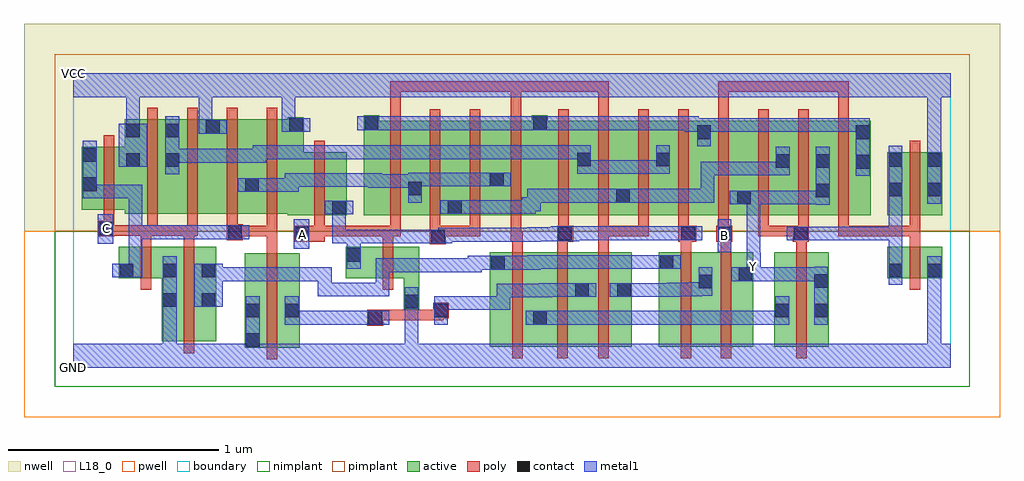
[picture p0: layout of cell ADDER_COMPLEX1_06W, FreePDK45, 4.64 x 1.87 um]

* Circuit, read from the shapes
.subckt ADDER_COMPLEX1_06W A B C GND VCC Y
M1 GND C n1 VSUBS nfet w=0.15u l=0.05u
M2 n2 C GND VSUBS nfet w=0.45u l=0.05u
M3 n3 n1 GND VSUBS nfet w=0.45u l=0.05u
M4 GND A n4 VSUBS nfet w=0.15u l=0.05u
M5 n5 A n2 VSUBS nfet w=0.45u l=0.05u
M6 n3 n4 n5 VSUBS nfet w=0.45u l=0.05u
M7 n6 A n3 VSUBS nfet w=0.45u l=0.05u
M8 n6 n4 n2 VSUBS nfet w=0.45u l=0.05u
M9 Y B n6 VSUBS nfet w=0.45u l=0.05u
M10 Y n7 n5 VSUBS nfet w=0.45u l=0.05u
M11 GND B n7 VSUBS nfet w=0.15u l=0.05u
M12 VCC C n1 n8 pfet w=0.3u l=0.05u
M13 n9 C VCC n8 pfet w=0.45u l=0.05u m=2
M14 n10 n1 VCC n8 pfet w=0.45u l=0.05u m=2
M15 n4 A VCC n8 pfet w=0.3u l=0.05u
M16 n10 A n11 n8 pfet w=0.45u l=0.05u m=2
M17 n12 n4 n10 n8 pfet w=0.45u l=0.05u m=2
M18 n9 n4 n11 n8 pfet w=0.45u l=0.05u m=2
M19 n12 A n9 n8 pfet w=0.45u l=0.05u m=2
M20 Y B n11 n8 pfet w=0.45u l=0.05u m=2
M21 n12 n7 Y n8 pfet w=0.45u l=0.05u m=2
M22 VCC B n7 n8 pfet w=0.3u l=0.05u
.ends

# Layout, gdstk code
import gdstk
lib = gdstk.Library(unit=1e-6, precision=1e-09)
def R(c, l, rs):  # rectangles x0, y0, x1, y1
    for r in rs: c.add(gdstk.rectangle(r[:2], r[2:], *l))
def A(c, l, x, y, w, h, nx, ny, dx, dy):  # array of equal rectangles
    R(c, l, [(x+i*dx, y+j*dy, x+i*dx+w, y+j*dy+h) for i in range(nx) for j in range(ny)])
active = (1, 0)
pwell = (2, 0)
nwell = (3, 0)
nimplant = (4, 0)
pimplant = (5, 0)
poly = (9, 0)
contact = (10, 0)
metal1 = (11, 0)
L18_0 = (18, 0)
boundary = (235, 0)

adder_complex1_06w = lib.new_cell('ADDER_COMPLEX1_06W')
A(adder_complex1_06w, active, 1.98, 0.1, 0.275, 0.45, 3, 1, 0.2, 0)
R(adder_complex1_06w, active, [(0.815,0.095,1.075,0.545), (0.815,0.095,0.89,0.545), (2.782,0.1,3.042,0.55), (2.967,0.1,3.232,0.55), (3.332,0.1,3.592,0.55), (0.42,0.125,0.68,0.575), (0.605,0.145,0.68,0.575), (1,0.145,1.075,0.542), (1.98,0.145,2.055,0.542), (2.18,0.145,2.255,0.29), (2.38,0.145,2.455,0.542), (2.58,0.145,2.655,0.542), (2.782,0.145,2.857,0.55), (2.967,0.145,3.042,0.542), (3.157,0.145,3.232,0.55), (3.332,0.145,3.407,0.542), (3.517,0.145,3.592,0.55), (1.57,0.277,1.645,0.445), (0.42,0.285,0.495,0.575), (0.215,0.425,0.29,0.575), (0.215,0.425,0.495,0.575), (1.295,0.425,1.645,0.575), (3.87,0.425,3.945,0.575), (3.87,0.425,4.13,0.575), (4.055,0.425,4.13,0.575), (1.295,0.445,1.37,0.575), (1.02,0.725,1.3,1.025), (1.225,0.725,1.3,0.81), (1.38,0.725,1.662,1.175), (1.587,0.725,1.662,0.94), (1.587,0.725,1.85,1.175), (1.775,0.725,2.05,1.175), (1.775,0.725,1.85,0.81), (1.975,0.725,2.255,1.175), (2.18,0.725,2.465,1.175), (2.39,0.725,2.65,1.175), (2.575,0.725,2.84,1.175), (2.765,0.725,3.035,1.175), (2.96,0.725,3.225,1.175), (3.15,0.725,3.41,1.175), (3.15,0.725,3.225,0.94), (3.335,0.725,3.6,1.175), (3.525,0.725,3.79,1.175), (3.715,0.725,3.79,1.167), (3.87,0.725,3.945,1.025), (3.87,0.725,4.13,1.025), (4.055,0.725,4.13,1.025), (2.575,0.73,2.65,0.94), (3.525,0.73,3.6,1.07), (0.245,0.732,0.507,1.182), (0.432,0.732,0.7,1.182), (0.432,0.732,0.507,1.167), (0.625,0.732,0.887,1.182), (0.812,0.732,1.095,1.182), (3.335,0.732,3.41,1.07), (0.04,0.75,0.115,1.05), (0.04,0.75,0.32,1.05), (0.812,0.832,0.887,1.07), (1.975,0.85,2.05,0.94), (2.39,0.85,2.465,1.07), (2.765,0.852,2.84,1.07), (2.96,0.852,3.035,1.175), (0.625,0.857,0.7,1.182), (1.02,0.857,1.095,1.192), (1.38,0.857,1.455,1.2), (2.18,0.857,2.255,1.2), (0.245,0.95,0.32,1.165)])
R(adder_complex1_06w, pwell, [(-0.235,-0.235,4.405,0.65)])
R(adder_complex1_06w, nwell, [(-0.235,0.65,4.405,1.635)])
R(adder_complex1_06w, nimplant, [(-0.09,-0.09,4.26,0.65)])
R(adder_complex1_06w, pimplant, [(-0.09,0.65,4.26,1.49)])
A(adder_complex1_06w, poly, 1.505, 0.625, 0.05, 0.095, 3, 1, 0.19, 0)
A(adder_complex1_06w, poly, 2.305, 0.625, 0.05, 0.095, 8, 1, 0.19, 0)
A(adder_complex1_06w, poly, 1.505, 0.67, 0.05, 0.56, 3, 1, 0.19, 0)
A(adder_complex1_06w, poly, 2.305, 0.67, 0.05, 0.56, 8, 1, 0.19, 0)
A(adder_complex1_06w, poly, 0.35, 0.677, 0.05, 0.56, 4, 1, 0.19, 0)
A(adder_complex1_06w, poly, 2.495, 1.18, 0.05, 0.182, 3, 1, 0.57, 0)
R(adder_complex1_06w, poly, [(0.92,0.04,0.97,0.6), (2.085,0.045,2.135,0.605), (2.3,0.045,2.35,0.605), (2.495,0.045,2.545,0.605), (2.887,0.045,2.937,0.605), (3.077,0.045,3.127,0.605), (3.437,0.045,3.487,0.605), (0.525,0.07,0.575,0.63), (1.397,0.2,1.472,0.275), (1.422,0.225,1.76,0.275), (1.71,0.225,1.76,0.285), (1.71,0.235,1.76,0.285), (1.71,0.235,1.785,0.31), (0.32,0.37,0.37,0.63), (1.47,0.37,1.52,0.63), (3.975,0.37,4.025,0.63), (0.92,0.55,0.97,0.675), (2.085,0.555,2.135,0.65), (2.3,0.555,2.35,0.65), (2.495,0.555,2.545,0.675), (2.887,0.555,2.937,0.65), (3.077,0.555,3.127,0.65), (3.437,0.555,3.487,0.65), (0.32,0.58,0.37,0.677), (0.525,0.58,0.575,0.677), (1.47,0.58,1.52,0.675), (3.975,0.58,4.025,0.675), (1.695,0.587,1.77,0.675), (1.052,0.6,1.195,0.675), (2.08,0.6,2.13,0.72), (2.08,0.6,2.135,0.65), (2.3,0.6,2.375,0.675), (2.875,0.6,2.96,0.675), (3.057,0.6,3.132,0.675), (3.42,0.6,3.495,0.675), (0.73,0.607,0.805,0.682), (0.12,0.625,0.195,0.7), (0.755,0.625,0.805,0.675), (0.755,0.625,0.805,0.675), (0.755,0.625,0.97,0.675), (0.92,0.625,0.97,0.675), (0.92,0.625,0.97,0.727), (1.145,0.625,1.195,0.72), (1.145,0.625,1.195,0.675), (1.145,0.625,1.195,0.675), (1.145,0.625,1.52,0.675), (1.47,0.625,1.52,0.675), (1.47,0.625,1.52,0.675), (1.47,0.625,1.555,0.675), (1.72,0.625,1.935,0.675), (1.885,0.625,1.935,0.675), (1.885,0.625,1.935,0.675), (1.885,0.625,1.935,0.675), (2.495,0.625,2.545,0.675), (2.495,0.625,2.735,0.675), (2.685,0.625,2.735,0.675), (2.685,0.625,2.735,0.675), (2.685,0.625,2.735,0.675), (3.255,0.625,3.305,0.675), (3.255,0.625,3.305,0.675), (3.255,0.625,3.305,0.675), (3.255,0.625,3.47,0.675), (3.635,0.625,3.685,0.675), (3.635,0.625,3.685,0.675), (3.635,0.625,3.685,0.675), (3.635,0.625,4.025,0.675), (3.975,0.625,4.025,0.72), (3.975,0.625,4.025,0.675), (3.975,0.625,4.025,0.675), (3.975,0.625,4.025,0.675), (0.145,0.627,0.37,0.677), (0.32,0.627,0.37,0.677), (0.32,0.627,0.37,0.677), (0.32,0.627,0.4,0.677), (0.35,0.627,0.4,0.727), (0.35,0.627,0.575,0.677), (0.525,0.627,0.575,0.677), (0.525,0.627,0.575,0.677), (0.525,0.627,0.59,0.677), (0.54,0.627,0.59,0.727), (0.73,0.632,0.78,0.727), (0.145,0.65,0.195,0.745), (1.145,0.67,1.195,1.08), (2.08,0.67,2.13,1.23), (3.975,0.67,4.025,1.08), (0.145,0.695,0.195,1.105), (1.505,1.18,1.555,1.362), (2.08,1.18,2.13,1.362), (1.505,1.312,1.555,1.362), (1.505,1.312,1.802,1.362), (1.752,1.312,1.802,1.362), (1.752,1.312,1.802,1.362), (1.752,1.312,1.802,1.362), (1.752,1.312,1.935,1.362), (1.885,1.312,1.935,1.362), (1.885,1.312,1.935,1.362), (1.885,1.312,1.935,1.362), (1.885,1.312,2.13,1.362), (2.08,1.312,2.13,1.362), (2.08,1.312,2.13,1.362), (2.08,1.312,2.13,1.362), (2.08,1.312,2.412,1.362), (2.362,1.312,2.412,1.362), (2.362,1.312,2.412,1.362), (2.362,1.312,2.412,1.362), (2.362,1.312,2.545,1.362), (2.495,1.312,2.545,1.362), (2.495,1.312,2.545,1.362), (2.495,1.312,2.545,1.362), (3.065,1.312,3.115,1.362), (3.065,1.312,3.115,1.362), (3.065,1.312,3.115,1.362), (3.065,1.312,3.337,1.362), (3.287,1.312,3.337,1.362), (3.287,1.312,3.337,1.362), (3.287,1.312,3.337,1.362), (3.287,1.312,3.552,1.362), (3.502,1.312,3.552,1.362), (3.502,1.312,3.552,1.362), (3.502,1.312,3.552,1.362), (3.502,1.312,3.685,1.362), (3.635,1.312,3.685,1.362)])
R(adder_complex1_06w, contact, [(0.82,0.1,0.885,0.165), (1.402,0.205,1.467,0.27), (2.185,0.205,2.25,0.27), (0.82,0.24,0.885,0.305), (1.005,0.24,1.07,0.305), (1.715,0.24,1.78,0.305), (3.337,0.24,3.402,0.305), (3.522,0.24,3.587,0.305), (1.575,0.282,1.64,0.347), (0.425,0.29,0.49,0.355), (0.61,0.29,0.675,0.355), (2.385,0.337,2.45,0.402), (2.585,0.337,2.65,0.402), (2.972,0.377,3.037,0.442), (3.522,0.38,3.587,0.445), (3.162,0.412,3.227,0.477), (0.22,0.43,0.285,0.495), (0.425,0.43,0.49,0.495), (0.61,0.43,0.675,0.495), (3.875,0.43,3.94,0.495), (4.06,0.43,4.125,0.495), (1.985,0.467,2.05,0.532), (2.787,0.47,2.852,0.535), (1.3,0.505,1.365,0.57), (1.7,0.592,1.765,0.657), (1.057,0.605,1.122,0.67), (2.305,0.605,2.37,0.67), (2.89,0.605,2.955,0.67), (3.062,0.605,3.127,0.67), (3.425,0.605,3.49,0.67), (0.735,0.612,0.8,0.677), (0.125,0.63,0.19,0.695), (1.23,0.73,1.295,0.795), (1.78,0.732,1.845,0.797), (3.155,0.777,3.22,0.842), (2.58,0.785,2.645,0.85), (3.53,0.81,3.595,0.875), (3.875,0.815,3.94,0.88), (4.06,0.815,4.125,0.88), (1.592,0.82,1.657,0.885), (0.817,0.837,0.882,0.902), (0.045,0.84,0.11,0.905), (1.98,0.862,2.045,0.927), (3.72,0.947,3.785,1.012), (3.34,0.95,3.405,1.015), (3.53,0.95,3.595,1.015), (0.25,0.955,0.315,1.02), (0.437,0.955,0.502,1.02), (3.875,0.955,3.94,1.02), (4.06,0.955,4.125,1.02), (2.395,0.957,2.46,1.022), (2.77,0.957,2.835,1.022), (0.045,0.98,0.11,1.045), (2.965,1.087,3.03,1.152), (3.72,1.087,3.785,1.152), (0.25,1.095,0.315,1.16), (0.437,1.095,0.502,1.16), (0.63,1.112,0.695,1.177), (1.025,1.122,1.09,1.187), (1.385,1.13,1.45,1.195), (2.185,1.13,2.25,1.195)])
A(adder_complex1_06w, metal1, 1.875, 0.732, 0.065, 0.065, 1, 3, 0, 0.13)
R(adder_complex1_06w, metal1, [(0,0,4.17,0.115), (0.425,0.05,0.49,0.32), (0.82,0.05,0.885,0.13), (1.575,0.05,1.64,0.115), (1.575,0.05,1.64,0.115), (1.575,0.05,1.64,0.115), (1.575,0.05,1.64,0.115), (1.575,0.05,1.64,0.115), (1.575,0.05,1.64,0.115), (1.575,0.05,1.64,0.312), (4.06,0.05,4.125,0.115), (4.06,0.05,4.125,0.115), (4.06,0.05,4.125,0.46), (0.82,0.065,0.885,0.13), (0.82,0.065,0.885,0.13), (0.82,0.065,0.885,0.34), (1.005,0.205,1.07,0.27), (1.005,0.205,1.07,0.27), (1.005,0.205,1.07,0.34), (1.005,0.205,1.295,0.27), (1.23,0.205,1.295,0.27), (1.23,0.205,1.432,0.27), (1.367,0.205,1.432,0.27), (1.367,0.205,1.432,0.27), (1.367,0.205,1.502,0.27), (1.715,0.205,1.78,0.34), (2.15,0.205,2.285,0.27), (2.22,0.205,2.46,0.27), (2.395,0.205,2.46,0.27), (2.395,0.205,2.46,0.27), (2.395,0.205,2.46,0.27), (2.395,0.205,2.597,0.27), (2.532,0.205,2.597,0.27), (2.532,0.205,2.597,0.27), (2.532,0.205,2.597,0.27), (2.532,0.205,2.747,0.27), (2.682,0.205,2.747,0.27), (2.682,0.205,2.892,0.27), (2.827,0.205,2.892,0.27), (2.827,0.205,2.99,0.27), (2.925,0.205,2.99,0.27), (2.925,0.205,3.047,0.27), (2.982,0.205,3.047,0.27), (2.982,0.205,3.127,0.27), (3.062,0.205,3.127,0.27), (3.062,0.205,3.265,0.27), (3.2,0.205,3.265,0.27), (3.2,0.205,3.265,0.27), (3.2,0.205,3.265,0.27), (3.2,0.205,3.402,0.27), (3.337,0.205,3.402,0.34), (3.522,0.205,3.587,0.48), (1.575,0.247,1.64,0.382), (0.425,0.255,0.49,0.32), (0.425,0.255,0.49,0.32), (0.425,0.255,0.49,0.53), (1.715,0.275,1.8,0.34), (1.735,0.275,1.8,0.34), (1.735,0.275,1.94,0.34), (1.875,0.275,1.94,0.34), (1.875,0.275,2.077,0.34), (2.012,0.275,2.077,0.395), (0.575,0.29,0.71,0.495), (2.012,0.33,2.077,0.395), (2.012,0.33,2.077,0.4), (2.012,0.335,2.277,0.4), (2.212,0.335,2.277,0.402), (2.212,0.337,2.415,0.402), (2.35,0.337,2.415,0.402), (2.35,0.337,2.415,0.402), (2.35,0.337,2.485,0.402), (2.55,0.337,2.685,0.402), (2.62,0.337,2.755,0.402), (2.69,0.337,2.755,0.402), (2.69,0.337,2.885,0.402), (2.82,0.337,2.885,0.405), (1.162,0.34,1.502,0.405), (1.162,0.34,1.227,0.477), (1.437,0.34,1.502,0.405), (1.437,0.34,1.502,0.405), (1.437,0.34,1.502,0.405), (1.437,0.34,1.502,0.52), (2.82,0.34,2.99,0.405), (2.925,0.34,2.99,0.407), (2.925,0.342,3.037,0.407), (2.972,0.342,3.037,0.477), (3.875,0.395,3.94,0.53), (4.06,0.395,4.125,0.46), (4.06,0.395,4.125,0.46), (4.06,0.395,4.125,0.46), (4.06,0.395,4.125,0.46), (4.06,0.395,4.125,0.53), (0.645,0.412,0.71,0.477), (0.645,0.412,0.71,0.477), (0.645,0.412,0.917,0.477), (0.852,0.412,0.917,0.477), (0.852,0.412,0.917,0.477), (0.852,0.412,0.917,0.477), (0.852,0.412,1.09,0.477), (1.025,0.412,1.09,0.477), (1.025,0.412,1.09,0.477), (1.025,0.412,1.09,0.477), (1.025,0.412,1.227,0.477), (3.127,0.412,3.265,0.477), (3.2,0.412,3.265,0.477), (3.2,0.412,3.265,0.477), (3.2,0.412,3.265,0.477), (3.2,0.412,3.442,0.477), (3.2,0.412,3.267,0.547), (3.377,0.412,3.442,0.477), (3.377,0.412,3.587,0.477), (3.522,0.412,3.587,0.477), (3.522,0.412,3.587,0.477), (0.185,0.43,0.327,0.495), (0.262,0.43,0.327,0.677), (1.437,0.455,1.502,0.52), (1.437,0.455,1.662,0.52), (1.597,0.455,1.662,0.52), (1.597,0.455,1.802,0.52), (1.737,0.455,1.802,0.52), (1.737,0.455,1.802,0.52), (1.737,0.455,1.802,0.52), (1.737,0.455,1.94,0.52), (1.875,0.455,1.94,0.532), (3.875,0.465,3.94,0.67), (1.875,0.467,2.015,0.532), (1.95,0.467,2.085,0.532), (2.02,0.467,2.085,0.532), (2.02,0.467,2.085,0.532), (2.02,0.467,2.222,0.532), (2.157,0.467,2.222,0.535), (1.3,0.47,1.365,0.605), (2.157,0.47,2.46,0.535), (2.395,0.47,2.46,0.535), (2.395,0.47,2.46,0.535), (2.395,0.47,2.46,0.535), (2.395,0.47,2.597,0.535), (2.532,0.47,2.597,0.535), (2.532,0.47,2.597,0.535), (2.532,0.47,2.597,0.535), (2.532,0.47,2.755,0.535), (2.69,0.47,2.755,0.535), (2.69,0.47,2.817,0.535), (2.752,0.47,2.887,0.535), (3.2,0.482,3.265,0.842), (1.3,0.54,1.365,0.657), (3.062,0.55,3.127,0.705), (1.047,0.565,1.122,0.705), (0.115,0.59,0.19,0.73), (1.23,0.592,1.295,0.657), (1.23,0.592,1.365,0.657), (1.23,0.592,1.295,0.795), (1.3,0.592,1.365,0.657), (1.3,0.592,1.452,0.657), (1.387,0.592,1.452,0.657), (1.387,0.592,1.64,0.657), (1.575,0.592,1.64,0.657), (1.575,0.592,1.73,0.657), (1.665,0.592,1.8,0.657), (1.735,0.592,1.8,0.657), (1.735,0.592,1.8,0.665), (1.735,0.6,1.94,0.665), (1.875,0.6,1.94,0.665), (1.875,0.6,2.077,0.665), (2.012,0.6,2.077,0.665), (2.012,0.6,2.077,0.665), (2.012,0.6,2.077,0.665), (2.012,0.6,2.222,0.665), (2.157,0.6,2.222,0.667), (2.157,0.602,2.335,0.667), (2.27,0.602,2.405,0.672), (2.855,0.605,2.99,0.672), (3.39,0.605,3.525,0.67), (3.46,0.605,3.59,0.67), (3.525,0.605,3.59,0.67), (3.525,0.605,3.802,0.67), (3.737,0.605,3.802,0.67), (3.737,0.605,3.94,0.67), (3.875,0.605,3.94,0.67), (3.875,0.605,3.94,0.67), (3.875,0.605,3.94,0.67), (3.875,0.605,3.94,0.845), (2.34,0.607,2.422,0.672), (2.357,0.607,2.422,0.672), (2.357,0.607,2.597,0.672), (2.532,0.607,2.597,0.672), (2.532,0.607,2.597,0.672), (2.532,0.607,2.597,0.672), (2.532,0.607,2.747,0.672), (2.682,0.607,2.747,0.672), (2.682,0.607,2.892,0.672), (2.827,0.607,2.892,0.672), (2.827,0.607,2.92,0.672), (0.262,0.612,0.327,0.677), (0.262,0.612,0.327,0.677), (0.262,0.612,0.327,0.677), (0.262,0.612,0.502,0.677), (0.262,0.612,0.327,0.87), (0.437,0.612,0.502,0.677), (0.437,0.612,0.502,0.677), (0.437,0.612,0.502,0.677), (0.437,0.612,0.71,0.677), (0.645,0.612,0.71,0.677), (0.645,0.612,0.765,0.677), (0.7,0.612,0.835,0.677), (1.195,0.73,1.33,0.795), (1.745,0.732,1.88,0.797), (1.815,0.732,1.94,0.797), (1.875,0.732,2.077,0.797), (2.012,0.732,2.077,0.797), (2.012,0.732,2.197,0.797), (2.132,0.732,2.197,0.81), (2.132,0.745,2.222,0.81), (2.157,0.745,2.222,0.85), (3.53,0.775,3.595,1.05), (3.12,0.777,3.265,0.842), (3.2,0.777,3.265,0.842), (3.2,0.777,3.265,0.842), (3.2,0.777,3.445,0.842), (3.38,0.777,3.445,0.842), (3.38,0.777,3.445,0.842), (3.38,0.777,3.445,0.842), (3.38,0.777,3.595,0.842), (3.875,0.78,3.94,1.055), (4.06,0.78,4.125,1.055), (1.592,0.785,1.657,0.92), (2.157,0.785,2.422,0.85), (2.357,0.785,2.422,0.85), (2.357,0.785,2.422,0.85), (2.357,0.785,2.422,0.85), (2.357,0.785,2.61,0.85), (2.545,0.785,2.61,0.85), (2.545,0.785,2.61,0.85), (2.545,0.785,2.68,0.85), (2.615,0.785,2.68,0.85), (2.615,0.785,2.68,0.85), (2.615,0.785,2.755,0.85), (2.69,0.785,2.755,0.85), (2.69,0.785,2.892,0.85), (2.827,0.785,2.892,0.85), (2.827,0.785,2.892,0.85), (2.827,0.785,2.892,0.85), (2.827,0.785,3.047,0.85), (2.982,0.785,3.047,0.98), (0.045,0.805,0.11,0.87), (0.045,0.805,0.11,0.87), (0.045,0.805,0.11,1.08), (0.045,0.805,0.327,0.87), (0.262,0.805,0.327,0.87), (0.782,0.837,0.917,0.902), (0.852,0.837,0.917,0.902), (0.852,0.837,0.917,0.902), (0.852,0.837,1.07,0.902), (1.005,0.837,1.07,0.92), (1.005,0.855,1.07,0.92), (1.005,0.855,1.07,0.925), (1.402,0.855,1.467,0.92), (1.402,0.855,1.467,0.92), (1.402,0.855,1.467,0.925), (1.402,0.855,1.657,0.92), (1.592,0.855,1.657,0.92), (1.592,0.855,1.657,0.927), (1.005,0.86,1.227,0.925), (1.162,0.86,1.227,0.925), (1.162,0.86,1.467,0.925), (1.592,0.862,1.81,0.927), (1.745,0.862,1.81,0.927), (1.745,0.862,1.94,0.927), (1.875,0.862,2.01,0.927), (1.945,0.862,2.08,0.927), (3.72,0.912,3.785,1.187), (2.982,0.915,3.127,0.98), (3.062,0.915,3.127,0.98), (3.062,0.915,3.265,0.98), (3.2,0.915,3.265,0.98), (3.2,0.915,3.265,0.98), (3.2,0.915,3.265,0.98), (3.2,0.915,3.405,0.98), (3.34,0.915,3.405,1.05), (0.437,0.92,0.502,1.195), (2.395,0.922,2.46,1.057), (2.395,0.922,2.61,0.987), (2.545,0.922,2.61,0.987), (2.545,0.922,2.61,0.987), (2.545,0.922,2.61,0.987), (2.545,0.922,2.747,0.987), (2.682,0.922,2.747,0.987), (2.682,0.922,2.835,0.987), (2.77,0.922,2.835,1.057), (0.215,0.955,0.35,1.16), (0.437,0.975,0.502,1.04), (0.437,0.975,0.502,1.04), (0.437,0.975,0.71,1.04), (0.645,0.975,0.71,1.04), (0.645,0.975,0.71,1.04), (0.645,0.975,0.71,1.04), (0.645,0.975,0.917,1.04), (0.852,0.975,0.917,1.057), (4.06,0.99,4.125,1.055), (4.06,0.99,4.125,1.055), (4.06,0.99,4.125,1.055), (4.06,0.99,4.125,1.055), (4.06,0.99,4.125,1.35), (0.852,0.992,0.917,1.057), (0.852,0.992,0.917,1.057), (0.852,0.992,1.055,1.057), (0.99,0.992,1.055,1.057), (0.99,0.992,1.227,1.057), (1.162,0.992,1.227,1.057), (1.162,0.992,1.227,1.057), (1.162,0.992,1.227,1.057), (1.162,0.992,1.432,1.057), (1.367,0.992,1.432,1.057), (1.367,0.992,1.432,1.057), (1.367,0.992,1.432,1.057), (1.367,0.992,1.662,1.057), (1.597,0.992,1.662,1.057), (1.597,0.992,1.662,1.057), (1.597,0.992,1.662,1.057), (1.597,0.992,1.872,1.057), (1.807,0.992,1.872,1.057), (1.807,0.992,1.94,1.057), (1.875,0.992,2.017,1.057), (1.952,0.992,2.017,1.057), (1.952,0.992,2.187,1.057), (2.122,0.992,2.187,1.057), (2.122,0.992,2.222,1.057), (2.157,0.992,2.222,1.057), (2.157,0.992,2.46,1.057), (2.395,0.992,2.46,1.057), (2.395,0.992,2.46,1.057), (2.965,1.052,3.03,1.187), (0.25,1.095,0.315,1.16), (0.25,1.095,0.315,1.16), (0.25,1.095,0.315,1.35), (0.595,1.112,0.73,1.177), (0.595,1.112,0.66,1.35), (0.99,1.122,1.125,1.187), (0.99,1.122,1.055,1.35), (2.907,1.122,3.03,1.187), (2.907,1.122,2.972,1.195), (2.965,1.122,3.127,1.187), (3.062,1.122,3.127,1.187), (3.062,1.122,3.265,1.187), (3.2,1.122,3.265,1.187), (3.2,1.122,3.265,1.187), (3.2,1.122,3.265,1.187), (3.2,1.122,3.445,1.187), (3.38,1.122,3.445,1.187), (3.38,1.122,3.445,1.187), (3.38,1.122,3.445,1.187), (3.38,1.122,3.582,1.187), (3.517,1.122,3.582,1.187), (3.517,1.122,3.785,1.187), (3.72,1.122,3.785,1.187), (3.72,1.122,3.785,1.187), (1.35,1.13,1.485,1.195), (1.42,1.13,1.485,1.195), (1.42,1.13,1.485,1.195), (1.42,1.13,1.64,1.195), (1.575,1.13,1.64,1.195), (1.575,1.13,1.8,1.195), (1.735,1.13,1.8,1.195), (1.735,1.13,1.8,1.195), (1.735,1.13,1.8,1.195), (1.735,1.13,1.94,1.195), (1.875,1.13,1.94,1.195), (1.875,1.13,2.077,1.195), (2.012,1.13,2.077,1.195), (2.012,1.13,2.077,1.195), (2.012,1.13,2.077,1.195), (2.012,1.13,2.215,1.195), (2.15,1.13,2.285,1.195), (2.22,1.13,2.422,1.195), (2.357,1.13,2.422,1.195), (2.357,1.13,2.422,1.195), (2.357,1.13,2.422,1.195), (2.357,1.13,2.597,1.195), (2.532,1.13,2.597,1.195), (2.532,1.13,2.597,1.195), (2.532,1.13,2.597,1.195), (2.532,1.13,2.755,1.195), (2.69,1.13,2.755,1.195), (2.69,1.13,2.822,1.195), (2.757,1.13,2.822,1.195), (2.757,1.13,2.972,1.195), (0,1.285,4.17,1.4), (0.595,1.285,0.66,1.35), (0.595,1.285,0.66,1.35), (0.99,1.285,1.055,1.35), (0.99,1.285,1.055,1.35)])
R(adder_complex1_06w, L18_0, [(0,0,4.17,0.115), (0.425,0.05,0.49,0.32), (0.82,0.05,0.885,0.13), (1.575,0.05,1.64,0.115), (1.575,0.05,1.64,0.115), (1.575,0.05,1.64,0.115), (1.575,0.05,1.64,0.115), (1.575,0.05,1.64,0.115), (1.575,0.05,1.64,0.115), (1.575,0.05,1.64,0.312), (4.06,0.05,4.125,0.115), (4.06,0.05,4.125,0.115), (4.06,0.05,4.125,0.46), (0.82,0.065,0.885,0.13), (0.82,0.065,0.885,0.13), (0.82,0.065,0.885,0.34), (3.522,0.205,3.587,0.48), (1.575,0.247,1.64,0.382), (0.425,0.255,0.49,0.32), (0.425,0.255,0.49,0.32), (0.425,0.255,0.49,0.53), (4.06,0.395,4.125,0.46), (4.06,0.395,4.125,0.46), (4.06,0.395,4.125,0.46), (4.06,0.395,4.125,0.46), (4.06,0.395,4.125,0.53), (3.127,0.412,3.265,0.477), (3.2,0.412,3.265,0.477), (3.2,0.412,3.265,0.477), (3.2,0.412,3.265,0.477), (3.2,0.412,3.267,0.547), (3.2,0.412,3.442,0.477), (3.377,0.412,3.442,0.477), (3.377,0.412,3.587,0.477), (3.522,0.412,3.587,0.477), (3.522,0.412,3.587,0.477), (3.202,0.447,3.267,0.512), (3.2,0.482,3.265,0.842), (3.062,0.55,3.127,0.705), (1.047,0.565,1.122,0.705), (0.115,0.59,0.19,0.73), (3.062,0.597,3.127,0.662), (1.057,0.602,1.122,0.667), (0.122,0.627,0.187,0.692), (3.53,0.775,3.595,1.05), (3.12,0.777,3.265,0.842), (3.2,0.777,3.265,0.842), (3.2,0.777,3.265,0.842), (3.2,0.777,3.445,0.842), (3.38,0.777,3.445,0.842), (3.38,0.777,3.445,0.842), (3.38,0.777,3.445,0.842), (3.38,0.777,3.595,0.842), (4.06,0.78,4.125,1.055), (0.215,0.955,0.35,1.16), (4.06,0.99,4.125,1.055), (4.06,0.99,4.125,1.055), (4.06,0.99,4.125,1.055), (4.06,0.99,4.125,1.055), (4.06,0.99,4.125,1.35), (0.25,1.095,0.315,1.16), (0.25,1.095,0.315,1.16), (0.25,1.095,0.315,1.35), (0.595,1.112,0.73,1.177), (0.595,1.112,0.66,1.35), (0.99,1.122,1.125,1.187), (0.99,1.122,1.055,1.35), (0,1.285,4.17,1.4), (0.595,1.285,0.66,1.35), (0.595,1.285,0.66,1.35), (0.99,1.285,1.055,1.35), (0.99,1.285,1.055,1.35)])
R(adder_complex1_06w, boundary, [(0,0,4.17,1.4)])
adder_complex1_06w.add(gdstk.Label('A', (1.09,0.635), layer=11, texttype=0))
adder_complex1_06w.add(gdstk.Label('B', (3.095,0.63), layer=11, texttype=0))
adder_complex1_06w.add(gdstk.Label('C', (0.155,0.66), layer=11, texttype=0))
adder_complex1_06w.add(gdstk.Label('Y', (3.235,0.48), layer=11, texttype=0))
adder_complex1_06w.add(gdstk.Label('VCC', (0,1.4), layer=11, texttype=0))
adder_complex1_06w.add(gdstk.Label('GND', (0,0), layer=11, texttype=0))

lib.write_gds('ADDER_COMPLEX1_06W.gds')
